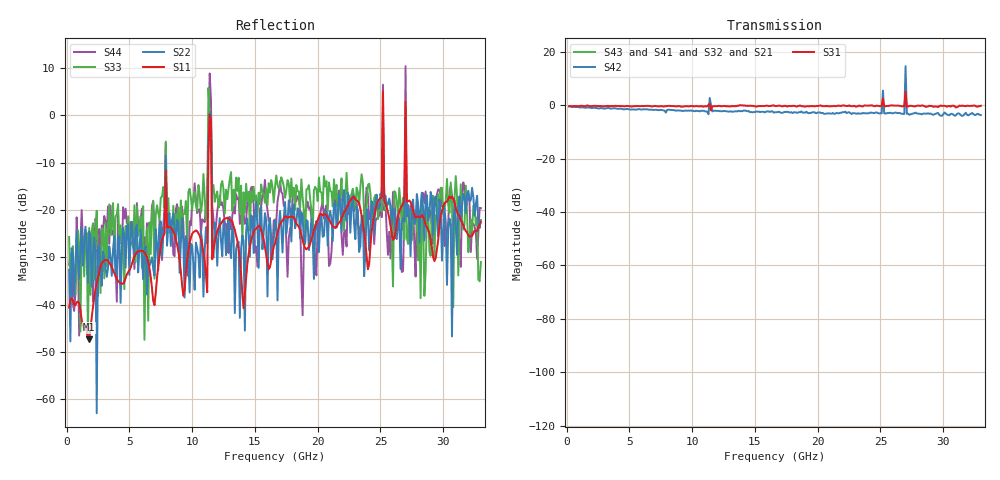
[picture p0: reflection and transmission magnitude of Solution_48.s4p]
# GHZ S RI R 50
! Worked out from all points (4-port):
!   329 points, 200 MHz to 33 GHz, reference 50 ohm
!   strongest paths, dB at 200 MHz, 8.4 GHz, 16.6 GHz, 24.8 GHz, 33 GHz:
!     S31: -0.4, -0.3, -0.3, -0.2, -0.2
!     S42: -0.5, -1.8, -2.6, -2.9, -3.7
!     S43: -, -, -, -, -
!     S41: -, -, -, -, -
!     S32: -, -, -, -, -
!     S21: -, -, -, -, -
!   lowest |S11| = -47.3 dB at 1.8 GHz (marker M1), VSWR 1.01, Z = 49.7 + j0.255 ohm
!   |S11| at or under -10 dB: start of sweep to 11.29 GHz; 11.53 GHz to 25.13 GHz (13.6 GHz wide, 74.2 % of centre); 27.06 GHz to end of sweep (the widest 3 of 4)
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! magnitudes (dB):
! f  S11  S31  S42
! 200 MHz  -40.6  -0.4  -0.5
! 1.8 GHz  -47.3  -0.3  -0.9
! 2.4 GHz  -35.4  -0.3  -1.1
! 11.4 GHz  0.3  0.6  2.7
! 18.8 GHz  -26.3  -0.4  -2.8
! 27 GHz  3.0  5.1  14.6
! 33 GHz  -22.5  -0.2  -3.7
